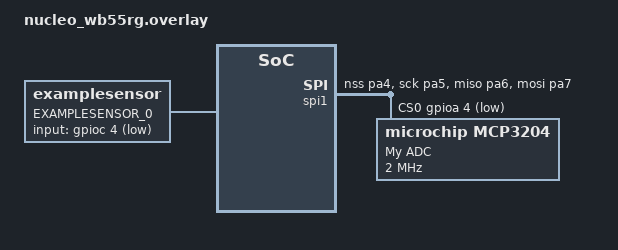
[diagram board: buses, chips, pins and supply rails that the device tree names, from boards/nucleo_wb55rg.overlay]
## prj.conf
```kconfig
# Copyright (c) 2021 Nordic Semiconductor ASA
# SPDX-License-Identifier: Apache-2.0
#
# This file contains selected Kconfig options for the application.

CONFIG_SENSOR=y
CONFIG_SPI=y
CONFIG_ADC=y
CONFIG_LOG=y
```

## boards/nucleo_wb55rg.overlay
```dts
/*
 * Copyright (c) 2021 Nordic Semiconductor ASA
 * SPDX-License-Identifier: Apache-2.0
 */

/* This devicetree overlay file will be automatically picked by the Zephyr
 * build system when building the sample for the nucleo_f302r8 board. It shows
 * how the example-application can be built on sample boards already provided
 * by Zephyr.
 */

/ {
	examplesensor0: examplesensor_0 {
		compatible = "zephyr,examplesensor";
		label = "EXAMPLESENSOR_0";
		input-gpios = <&gpioc 4 (GPIO_PULL_UP | GPIO_ACTIVE_LOW)>;
	};



};

&gpioc {
	status = "okay";
};


&spi1 {
	status = "okay";
	pinctrl-0 = <&spi1_nss_pa4 &spi1_sck_pa5 &spi1_miso_pa6 &spi1_mosi_pa7>;
	cs-gpios = <&gpioa 4 GPIO_ACTIVE_LOW>;

	myadc: myadc@0 {
		status = "okay";
		compatible = "microchip,mcp3204";
		reg = <0x0 >;
		spi-max-frequency = <2000000>;
		label = "My ADC";
		#io-channel-cells = <1>;
	};
};
```

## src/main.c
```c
/*
 * Copyright (c) 2021 Nordic Semiconductor ASA
 * SPDX-License-Identifier: Apache-2.0
 */

#include <zephyr/kernel.h>
#include <zephyr/drivers/sensor.h>
#include <zephyr/drivers/spi.h>

#include "app_version.h"

#include <zephyr/logging/log.h>

#include "MCP356X.h"

LOG_MODULE_REGISTER(main, CONFIG_APP_LOG_LEVEL);

struct spi_dt_spec bus = SPI_DT_SPEC_GET(DT_NODELABEL(myadc), SPI_OP_MODE_MASTER | SPI_TRANSFER_MSB | SPI_WORD_SET(8), 0);


static void mcp356x_data11_get(struct mcp356x_data11 * value)
{
	uint8_t tx[5];
	uint8_t rx[5];
	struct spi_buf buf_tx[] = {{.buf = &tx,.len = sizeof(tx)}};
	struct spi_buf buf_rx[] = {{.buf = &rx,.len = sizeof(rx)}};
	struct spi_buf_set tx_buf = {.buffers = buf_tx, .count = 1};
	struct spi_buf_set rx_buf = {.buffers = buf_rx, .count = 1};
	tx[0] = MCP356X_COMMAND_BYTE(MCP356X_DEVICE_ADR, MCP356X_REG_ADC_DATA, MCP356X_CMD_INC_READ);
	tx[1] = 0; // Need to write in order to read. Exchange 0 for reading data.
	tx[2] = 0; // Need to write in order to read. Exchange 0 for reading data.
	tx[3] = 0; // Need to write in order to read. Exchange 0 for reading data.
	tx[4] = 0; // Need to write in order to read. Exchange 0 for reading data.
	
	printk("rx: %02x %02x %02x %02x %02x\n", rx[0], rx[1], rx[2], rx[3], rx[4]);

	spi_transceive_dt(&bus, &tx_buf, &rx_buf);
	value->channel = rx[1] >> 4;
	uint8_t sign = rx[1] & 0x01;
	value->value = (rx[2] << 16) | (rx[3] << 8) | (rx[4] << 0);
	if (sign != 0)
	{
		value->value -= 16777215;
	}
}


#define VREF  2048
#define MY_GAIN MCP356X_CFG_2_GAIN_X_033

void main(void)
{
	int ret;
	const struct device *sensor;
	const struct device *myadc;

	printk("Zephyr Example Application %s\n", APP_VERSION_STR);


	sensor = DEVICE_DT_GET(DT_NODELABEL(examplesensor0));
	myadc = DEVICE_DT_GET(DT_NODELABEL(myadc));
	
	if (!spi_is_ready(&bus))
	{
		LOG_ERR("SPI bus not ready");
		return -ENODEV;
	}

	if (!device_is_ready(myadc)) {
		LOG_ERR("ADC not ready");
		return;
	}

	if (!device_is_ready(sensor)) {
		LOG_ERR("examplesensor0 not ready");
		return;
	}



	while (1) {
		struct sensor_value val;

		ret = sensor_sample_fetch(sensor);
		if (ret < 0) {
			LOG_ERR("Could not fetch sample (%d)", ret);
			return;
		}

		ret = sensor_channel_get(sensor, SENSOR_CHAN_PROX, &val);
		if (ret < 0) {
			LOG_ERR("Could not get sample (%d)", ret);
			return;
		}

		printk("Sensor value: %d\n", val.val1);

		struct mcp356x_data11 data;
		mcp356x_data11_get(&data);
		printk("Voltage: %02x %08x %08i\n", data.channel, data.value, MCP356X_raw_to_mv(data.value, VREF, MY_GAIN));

		k_sleep(K_MSEC(1000));
	}
}
```
